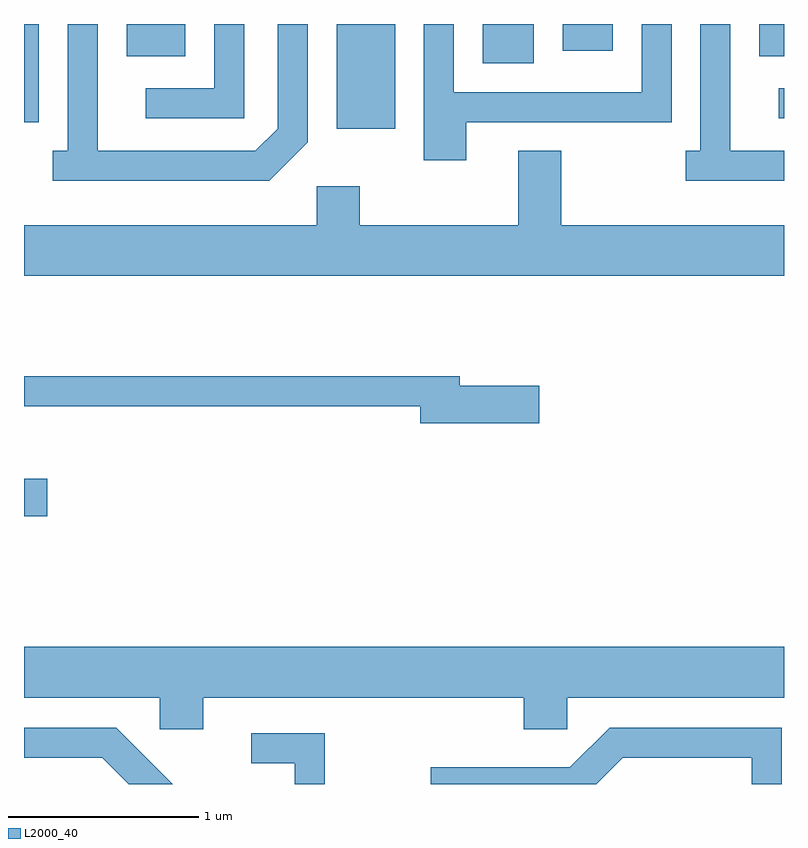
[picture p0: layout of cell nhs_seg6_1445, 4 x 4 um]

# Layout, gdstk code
import gdstk
lib = gdstk.Library(unit=1e-6, precision=1e-09)
def R(c, l, rs):  # rectangles x0, y0, x1, y1
    for r in rs: c.add(gdstk.rectangle(r[:2], r[2:], *l))
def P(c, l, *ps):  # polygons
    for p in ps: c.add(gdstk.Polygon(p, *l))
L2000_40 = (2000, 40)

nhs_seg6_1445 = lib.new_cell('nhs_seg6_1445')
R(nhs_seg6_1445, L2000_40, [(227.611,1637.571,227.734,1637.769), (229.256,1639.611,229.564,1640.162), (227.611,1639.646,227.689,1640.162), (231.583,1639.666,231.611,1639.824), (230.026,1639.956,230.294,1640.162), (228.151,1639.991,228.459,1640.162), (231.481,1639.991,231.611,1640.162), (230.446,1640.021,230.709,1640.162)])
P(nhs_seg6_1445, L2000_40, [(229.939,1639.646),(231.019,1639.646),(231.019,1640.162),(230.861,1640.162),(230.861,1639.804),(229.874,1639.804),(229.874,1640.162),(229.716,1640.162),(229.716,1639.446),(229.939,1639.446)],
  [(229.104,1639.539),(229.104,1640.162),(228.946,1640.162),(228.946,1639.612),(228.829,1639.494),(227.999,1639.494),(227.999,1640.162),(227.841,1640.162),(227.841,1639.494),(227.763,1639.494),(227.763,1639.336),(228.902,1639.336)],
  [(228.769,1640.162),(228.611,1640.162),(228.611,1639.824),(228.253,1639.824),(228.253,1639.666),(228.769,1639.666)],
  [(231.611,1639.494),(231.329,1639.494),(231.329,1640.162),(231.171,1640.162),(231.171,1639.494),(231.093,1639.494),(231.093,1639.336),(231.611,1639.336)],
  [(229.151,1639.309),(229.151,1639.104),(227.611,1639.104),(227.611,1638.836),(231.611,1638.836),(231.611,1639.104),(230.439,1639.104),(230.439,1639.494),(230.211,1639.494),(230.211,1639.104),(229.379,1639.104),(229.379,1639.309)],
  [(230.324,1638.259),(229.904,1638.259),(229.904,1638.309),(227.611,1638.309),(227.611,1638.151),(229.696,1638.151),(229.696,1638.061),(230.324,1638.061)],
  [(228.554,1636.616),(230.241,1636.616),(230.241,1636.451),(230.469,1636.451),(230.469,1636.616),(231.611,1636.616),(231.611,1636.884),(227.611,1636.884),(227.611,1636.616),(228.326,1636.616),(228.326,1636.451),(228.554,1636.451)],
  [(230.762,1636.301),(231.441,1636.301),(231.441,1636.162),(231.599,1636.162),(231.599,1636.459),(230.694,1636.459),(230.484,1636.249),(229.751,1636.249),(229.751,1636.162),(230.623,1636.162)],
  [(228.097,1636.459),(227.611,1636.459),(227.611,1636.301),(228.024,1636.301),(228.163,1636.162),(228.394,1636.162)],
  [(229.194,1636.429),(228.808,1636.429),(228.808,1636.271),(229.036,1636.271),(229.036,1636.162),(229.194,1636.162)])

lib.write_gds('nhs_seg6_1445.gds')
